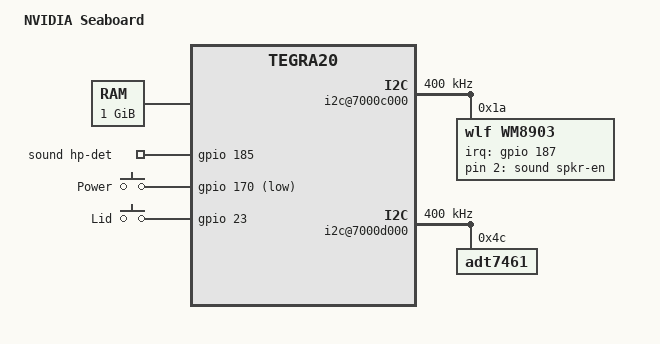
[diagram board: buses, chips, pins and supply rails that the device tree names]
/dts-v1/;

/include/ "tegra20.dtsi"

/ {
	model = "NVIDIA Seaboard";
	compatible = "nvidia,seaboard", "nvidia,tegra20";

	memory {
		device_type = "memory";
		reg = < 0x00000000 0x40000000 >;
	};

	i2c@7000c000 {
		clock-frequency = <400000>;

		wm8903: wm8903@1a {
			compatible = "wlf,wm8903";
			reg = <0x1a>;
			interrupt-parent = <&gpio>;
			interrupts = < 187 0x04 >;

			gpio-controller;
			#gpio-cells = <2>;

			micdet-cfg = <0>;
			micdet-delay = <100>;
			gpio-cfg = < 0xffffffff 0xffffffff 0 0xffffffff 0xffffffff >;
		};
	};

	i2c@7000c400 {
		clock-frequency = <400000>;
	};

	i2c@7000c500 {
		clock-frequency = <400000>;
	};

	i2c@7000d000 {
		clock-frequency = <400000>;

		adt7461@4c {
			compatible = "adt7461";
			reg = <0x4c>;
		};
	};

	i2s@70002a00 {
		status = "disable";
	};

	sound {
		compatible = "nvidia,tegra-audio-wm8903-seaboard",
			     "nvidia,tegra-audio-wm8903";
		nvidia,model = "NVIDIA Tegra Seaboard";

		nvidia,audio-routing =
			"Headphone Jack", "HPOUTR",
			"Headphone Jack", "HPOUTL",
			"Int Spk", "ROP",
			"Int Spk", "RON",
			"Int Spk", "LOP",
			"Int Spk", "LON",
			"Mic Jack", "MICBIAS",
			"IN1R", "Mic Jack";

		nvidia,i2s-controller = <&tegra_i2s1>;
		nvidia,audio-codec = <&wm8903>;

		nvidia,spkr-en-gpios = <&wm8903 2 0>;
		nvidia,hp-det-gpios = <&gpio 185 0>; /* gpio PX1 */
	};

	serial@70006000 {
		status = "disable";
	};

	serial@70006040 {
		status = "disable";
	};

	serial@70006200 {
		status = "disable";
	};

	serial@70006300 {
		clock-frequency = < 216000000 >;
	};

	serial@70006400 {
		status = "disable";
	};

	sdhci@c8000000 {
		status = "disable";
	};

	sdhci@c8000200 {
		status = "disable";
	};

	sdhci@c8000400 {
		cd-gpios = <&gpio 69 0>; /* gpio PI5 */
		wp-gpios = <&gpio 57 0>; /* gpio PH1 */
		power-gpios = <&gpio 70 0>; /* gpio PI6 */
	};

	sdhci@c8000600 {
		support-8bit;
	};

	usb@c5000000 {
		nvidia,vbus-gpio = <&gpio 24 0>; /* PD0 */
		dr_mode = "otg";
	};

	gpio-keys {
		compatible = "gpio-keys";

		power {
			label = "Power";
			gpios = <&gpio 170 1>; /* gpio PV2, active low */
			linux,code = <116>; /* KEY_POWER */
			gpio-key,wakeup;
		};

		lid {
			label = "Lid";
			gpios = <&gpio 23 0>; /* gpio PC7 */
			linux,input-type = <5>; /* EV_SW */
			linux,code = <0>; /* SW_LID */
			debounce-interval = <1>;
			gpio-key,wakeup;
		};
	};

	emc@7000f400 {
		emc-table@190000 {
			reg = < 190000 >;
			compatible = "nvidia,tegra20-emc-table";
			clock-frequency = < 190000 >;
			nvidia,emc-registers = < 0x0000000c 0x00000026
				0x00000009 0x00000003 0x00000004 0x00000004
				0x00000002 0x0000000c 0x00000003 0x00000003
				0x00000002 0x00000001 0x00000004 0x00000005
				0x00000004 0x00000009 0x0000000d 0x0000059f
				0x00000000 0x00000003 0x00000003 0x00000003
				0x00000003 0x00000001 0x0000000b 0x000000c8
				0x00000003 0x00000007 0x00000004 0x0000000f
				0x00000002 0x00000000 0x00000000 0x00000002
				0x00000000 0x00000000 0x00000083 0xa06204ae
				0x007dc010 0x00000000 0x00000000 0x00000000
				0x00000000 0x00000000 0x00000000 0x00000000 >;
		};

		emc-table@380000 {
			reg = < 380000 >;
			compatible = "nvidia,tegra20-emc-table";
			clock-frequency = < 380000 >;
			nvidia,emc-registers = < 0x00000017 0x0000004b
				0x00000012 0x00000006 0x00000004 0x00000005
				0x00000003 0x0000000c 0x00000006 0x00000006
				0x00000003 0x00000001 0x00000004 0x00000005
				0x00000004 0x00000009 0x0000000d 0x00000b5f
				0x00000000 0x00000003 0x00000003 0x00000006
				0x00000006 0x00000001 0x00000011 0x000000c8
				0x00000003 0x0000000e 0x00000007 0x0000000f
				0x00000002 0x00000000 0x00000000 0x00000002
				0x00000000 0x00000000 0x00000083 0xe044048b
				0x007d8010 0x00000000 0x00000000 0x00000000
				0x00000000 0x00000000 0x00000000 0x00000000 >;
		};
	};
};
